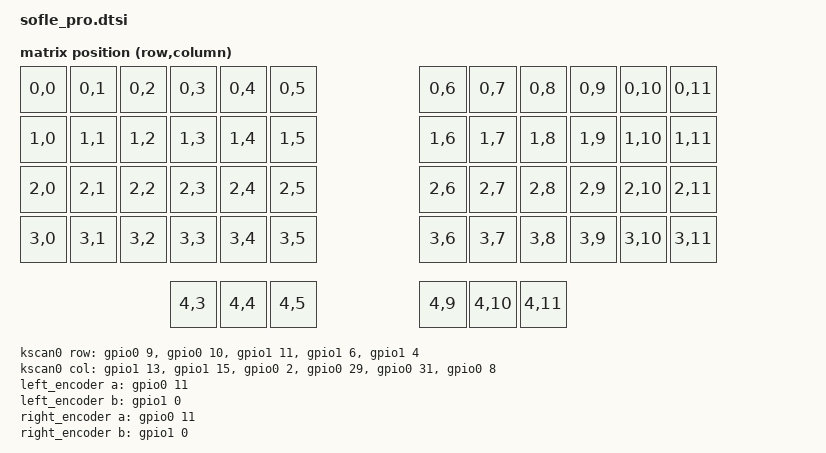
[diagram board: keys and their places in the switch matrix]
#include <dt-bindings/zmk/matrix_transform.h>
#include <physical_layouts.dtsi>

/ {
	kscan0: kscan0 {
		compatible = "zmk,kscan-gpio-matrix";
		diode-direction = "col2row";
		wakeup-source;
		row-gpios = <&gpio0 9 (GPIO_ACTIVE_HIGH | GPIO_PULL_DOWN)>,
		<&gpio0 10 (GPIO_ACTIVE_HIGH | GPIO_PULL_DOWN)>,
		<&gpio1 11 (GPIO_ACTIVE_HIGH | GPIO_PULL_DOWN)>,
		<&gpio1 6 (GPIO_ACTIVE_HIGH | GPIO_PULL_DOWN)>,
		<&gpio1 4 (GPIO_ACTIVE_HIGH | GPIO_PULL_DOWN)>;
		col-gpios
		= <&gpio1 13 GPIO_PULL_DOWN>
		, <&gpio1 15 GPIO_PULL_DOWN>
		, <&gpio0 2 GPIO_PULL_DOWN>
		, <&gpio0 29 GPIO_PULL_DOWN>
		, <&gpio0 31 GPIO_PULL_DOWN>
		, <&gpio0 8 GPIO_PULL_DOWN>
		;
	};
	
	default_transform: keymap_transform_0 {
		compatible = "zmk,matrix-transform";
		columns = <12>;
		rows = <5>;
		map = <
		RC(0,0) RC(0,1) RC(0,2) RC(0,3) RC(0,4) RC(0,5)     RC(0,6) RC(0,7) RC(0,8) RC(0,9) RC(0,10) RC(0,11)
		RC(1,0) RC(1,1) RC(1,2) RC(1,3) RC(1,4) RC(1,5)     RC(1,6) RC(1,7) RC(1,8) RC(1,9) RC(1,10) RC(1,11)
		RC(2,0) RC(2,1) RC(2,2) RC(2,3) RC(2,4) RC(2,5)     RC(2,6) RC(2,7) RC(2,8) RC(2,9) RC(2,10) RC(2,11)
		RC(3,0) RC(3,1) RC(3,2) RC(3,3) RC(3,4) RC(3,5)     RC(3,6) RC(3,7) RC(3,8) RC(3,9) RC(3,10) RC(3,11)
		                        RC(4,3) RC(4,4) RC(4,5)     RC(4,9) RC(4,10) RC(4,11)
		>;
	};
	
	physical_layout0: physical_layout_0 {// First physical layout, use different naming for other layouts
		compatible = "zmk,physical-layout";
		display-name = "Default Layout";
		transform = <&default_transform>;// Label of the matrix transform for this layout
		kscan = <&kscan0>;// Label of the kscan node
		keys//                     w   h    x    y     rot    rx    ry
		= <&key_physical_attrs 100 100    0    0       0     0     0>
		, <&key_physical_attrs 100 100  100    0       0     0     0>
		, <&key_physical_attrs 100 100  200    0       0     0     0>
		, <&key_physical_attrs 100 100  300    0       0     0     0>
		, <&key_physical_attrs 100 100  400    0       0     0     0>
		, <&key_physical_attrs 100 100  500    0       0     0     0>
		, <&key_physical_attrs 100 100  800    0       0     0     0>
		, <&key_physical_attrs 100 100  900    0       0     0     0>
		, <&key_physical_attrs 100 100 1000    0       0     0     0>
		, <&key_physical_attrs 100 100 1100    0       0     0     0>
		, <&key_physical_attrs 100 100 1200    0       0     0     0>
		, <&key_physical_attrs 100 100 1300    0       0     0     0>
		, <&key_physical_attrs 100 100    0  100       0     0     0>
		, <&key_physical_attrs 100 100  100  100       0     0     0>
		, <&key_physical_attrs 100 100  200  100       0     0     0>
		, <&key_physical_attrs 100 100  300  100       0     0     0>
		, <&key_physical_attrs 100 100  400  100       0     0     0>
		, <&key_physical_attrs 100 100  500  100       0     0     0>
		, <&key_physical_attrs 100 100  800  100       0     0     0>
		, <&key_physical_attrs 100 100  900  100       0     0     0>
		, <&key_physical_attrs 100 100 1000  100       0     0     0>
		, <&key_physical_attrs 100 100 1100  100       0     0     0>
		, <&key_physical_attrs 100 100 1200  100       0     0     0>
		, <&key_physical_attrs 100 100 1300  100       0     0     0>
		, <&key_physical_attrs 100 100    0  200       0     0     0>
		, <&key_physical_attrs 100 100  100  200       0     0     0>
		, <&key_physical_attrs 100 100  200  200       0     0     0>
		, <&key_physical_attrs 100 100  300  200       0     0     0>
		, <&key_physical_attrs 100 100  400  200       0     0     0>
		, <&key_physical_attrs 100 100  500  200       0     0     0>
		, <&key_physical_attrs 100 100  800  200       0     0     0>
		, <&key_physical_attrs 100 100  900  200       0     0     0>
		, <&key_physical_attrs 100 100 1000  200       0     0     0>
		, <&key_physical_attrs 100 100 1100  200       0     0     0>
		, <&key_physical_attrs 100 100 1200  200       0     0     0>
		, <&key_physical_attrs 100 100 1300  200       0     0     0>
		, <&key_physical_attrs 100 100    0  300       0     0     0>
		, <&key_physical_attrs 100 100  100  300       0     0     0>
		, <&key_physical_attrs 100 100  200  300       0     0     0>
		, <&key_physical_attrs 100 100  300  300       0     0     0>
		, <&key_physical_attrs 100 100  400  300       0     0     0>
		, <&key_physical_attrs 100 100  500  300       0     0     0>
		, <&key_physical_attrs 100 100  800  300       0     0     0>
		, <&key_physical_attrs 100 100  900  300       0     0     0>
		, <&key_physical_attrs 100 100 1000  300       0     0     0>
		, <&key_physical_attrs 100 100 1100  300       0     0     0>
		, <&key_physical_attrs 100 100 1200  300       0     0     0>
		, <&key_physical_attrs 100 100 1300  300       0     0     0>
		, <&key_physical_attrs 100 100  300  430       0     0     0>
		, <&key_physical_attrs 100 100  400  430       0     0     0>
		, <&key_physical_attrs 100 100  500  430       0     0     0>
		, <&key_physical_attrs 100 100  800  430       0     0     0>
		, <&key_physical_attrs 100 100  900  430       0     0     0>
		, <&key_physical_attrs 100 100 1000  430       0     0     0>
		;
	};
	
	left_encoder: left_encoder {
		compatible = "alps,ec11";
		a-gpios = <&gpio0 11 (GPIO_ACTIVE_HIGH | GPIO_PULL_UP)>;
		b-gpios = <&gpio1 0 (GPIO_ACTIVE_HIGH | GPIO_PULL_UP)>;
		steps = <15>;
		status = "disabled";
	};
	
	right_encoder: right_encoder {
		compatible = "alps,ec11";
		a-gpios = <&gpio0 11 (GPIO_ACTIVE_HIGH | GPIO_PULL_UP)>;
		b-gpios = <&gpio1 0 (GPIO_ACTIVE_HIGH | GPIO_PULL_UP)>;
		steps = <15>;
		status = "disabled";
	};
	
	sensors: sensors {
		compatible = "zmk,keymap-sensors";
		sensors = <&left_encoder &right_encoder>;
	};
	
	
	chosen {
		zmk,physical-layout = &physical_layout0;
		zmk,battery = &vbatt;
	};
	
	vbatt: vbatt {
		compatible = "zmk,battery-nrf-vddh";
	};
};

/ {
	split_inputs {
		#address-cells = <1>;
		#size-cells = <0>;
		
		tps65_split: tps65_split@0 {
			compatible = "zmk,input-split";
			reg = <0>;
			status = "disabled";
		};
	};
	tps65_listener: tps65_listener {
		compatible = "zmk,input-listener";
		status = "disabled";
		device = <&tps65_split>;
	};
};
